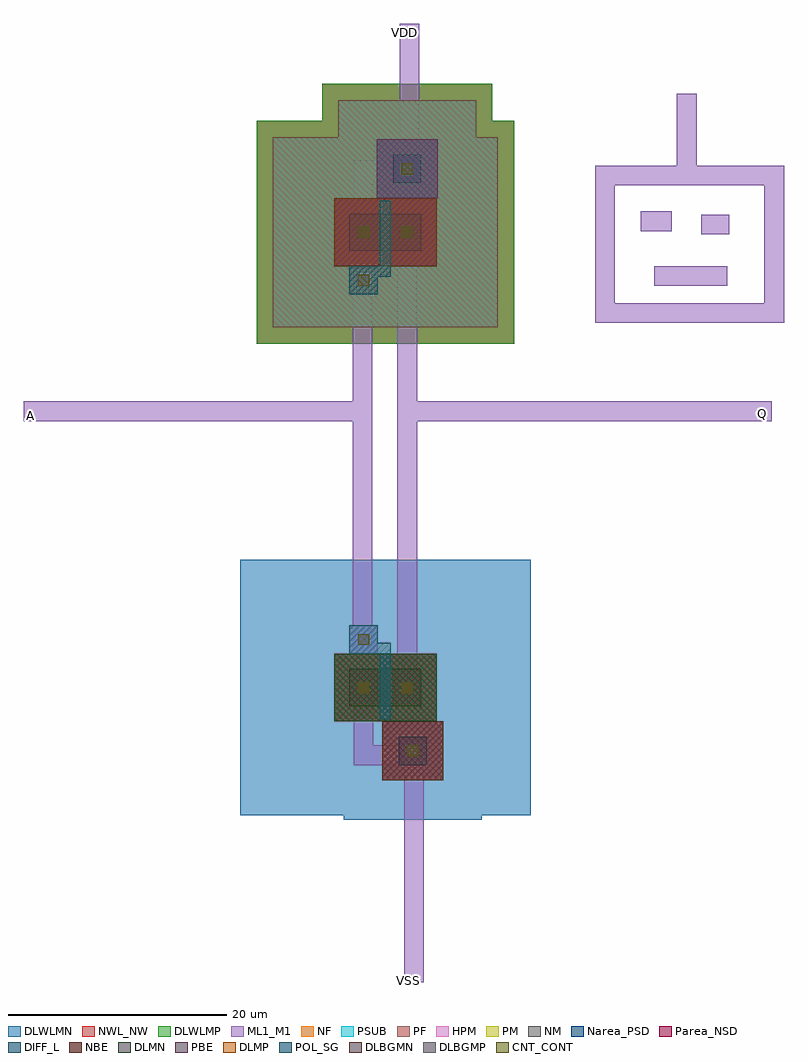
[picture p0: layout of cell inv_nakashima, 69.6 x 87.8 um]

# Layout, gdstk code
import gdstk
lib = gdstk.Library(unit=1e-6, precision=1e-07)
def R(c, l, rs):  # rectangles x0, y0, x1, y1
    for r in rs: c.add(gdstk.rectangle(r[:2], r[2:], *l))
DIFF_L = (3, 0)
NM = (7, 0)
POL_SG = (8, 0)
Narea_PSD = (9, 0)
CNT_CONT = (11, 0)
ML1_M1 = (13, 0)
NF = (25, 0)
PF = (26, 0)
Parea_NSD = (28, 0)
HPM = (33, 0)
PM = (35, 0)
NWL_NW = (36, 0)
PSUB = (140, 0)
PBE = (146, 0)
NBE = (147, 0)
DLWLMP = (150, 0)
DLWLMN = (151, 0)
DLMP = (157, 0)
DLMN = (158, 0)
DLBGMP = (177, 0)
DLBGMN = (178, 0)

dcont = lib.new_cell('dcont')
R(dcont, DIFF_L, [(-1.3,-1.3,1.3,1.3)])
R(dcont, CNT_CONT, [(-0.5,-0.5,0.5,0.5)])
R(dcont, ML1_M1, [(-1.3,-1.3,1.3,1.3), (-0.5,-0.5,0.5,0.5)])

pcont = lib.new_cell('pcont')
R(pcont, POL_SG, [(-1.3,-1.3,1.3,1.3)])
R(pcont, CNT_CONT, [(-0.5,-0.5,0.5,0.5)])
R(pcont, ML1_M1, [(-1.3,-1.3,1.3,1.3), (-0.5,-0.5,0.5,0.5)])

c_dcont = lib.new_cell('DCONT')
R(c_dcont, DIFF_L, [(-1.3,-1.3,1.3,1.3)])
R(c_dcont, CNT_CONT, [(-0.5,-0.5,0.5,0.5)])
R(c_dcont, ML1_M1, [(-1.3,-1.3,1.3,1.3), (-0.5,-0.5,0.5,0.5)])

psubcont = lib.new_cell('psubcont')
R(psubcont, NM, [(-2.8,-2.7,2.8,2.7)])
R(psubcont, Parea_NSD, [(-2.8,-2.7,2.8,2.7)])
R(psubcont, HPM, [(-2.8,-2.7,2.8,2.7)])
R(psubcont, PM, [(-2.8,-2.7,2.8,2.7)])
R(psubcont, DLWLMN, [(-6.3,-6.3,6.3,6.3)])
R(psubcont, DLBGMN, [(-2.8,-2.7,2.8,2.7)])
psubcont.add(gdstk.Reference(c_dcont, (0,0)))

mn_1 = lib.new_cell('MN$1')
R(mn_1, DIFF_L, [(0,3.6,6.6,7)])
R(mn_1, Narea_PSD, [(-1.4,2.2,8,8.4)])
R(mn_1, HPM, [(-1.4,2.2,8,8.4)])
R(mn_1, PM, [(-1.4,2.2,8,8.4)])
R(mn_1, NBE, [(-1.4,2.2,8,8.4)])
R(mn_1, DLWLMN, [(-10,-6.4,16.6,17)])
R(mn_1, DLMN, [(-1.4,2.2,8,8.4)])
mn_1.add(gdstk.FlexPath([(1.3,3.6),(1.3,7)], 2.6, ends="flush", simple_path=True, layer=13, datatype=0))  # ML1_M1
mn_1.add(gdstk.FlexPath([(5.3,3.6),(5.3,7)], 2.6, ends="flush", simple_path=True, layer=13, datatype=0))  # ML1_M1
mn_1.add(gdstk.FlexPath([(1.3,1.3),(1.3,4.6)], 1.8, ends="flush", simple_path=True, layer=13, datatype=0))  # ML1_M1
mn_1.add(gdstk.FlexPath([(5.3,6),(5.3,9.3)], 1.8, ends="flush", simple_path=True, layer=13, datatype=0))  # ML1_M1
mn_1.add(gdstk.FlexPath([(3.3,3.6),(3.3,7)], 1, ends=(1.2, 1.2), simple_path=True, layer=8, datatype=0))  # POL_SG
mn_1.add(gdstk.FlexPath([(1.3,8.9),(3.3,8.9),(3.3,8.2)], 1, ends="flush", simple_path=True, layer=8, datatype=0))  # POL_SG
mn_1.add(gdstk.Reference(dcont, (1.3,5.3)))
mn_1.add(gdstk.Reference(dcont, (5.3,5.3)))
mn_1.add(gdstk.Reference(pcont, (1.3,9.7)))
mn_1.add(gdstk.Reference(psubcont, (5.8,-0.5)))

nsubcont = lib.new_cell('nsubcont')
R(nsubcont, NM, [(-2.8,-2.7,2.8,2.7)])
R(nsubcont, Narea_PSD, [(-2.8,-2.7,2.8,2.7)])
R(nsubcont, NF, [(-6.3,-6.3,6.3,6.3)])
R(nsubcont, PF, [(-6.3,-6.3,6.3,6.3)])
R(nsubcont, HPM, [(-2.8,-2.7,2.8,2.7)])
R(nsubcont, PM, [(-2.8,-2.7,2.8,2.7)])
R(nsubcont, NWL_NW, [(-7.8,-7.8,7.8,7.8)])
R(nsubcont, PSUB, [(-6.3,-6.3,6.3,6.3)])
R(nsubcont, DLWLMP, [(-7.8,-7.8,7.8,7.8)])
R(nsubcont, DLBGMP, [(-2.8,-2.7,2.8,2.7)])
nsubcont.add(gdstk.Reference(c_dcont, (0,0)))

mp_1 = lib.new_cell('MP$1')
R(mp_1, DIFF_L, [(0,3.6,6.6,7)])
R(mp_1, NM, [(-1.4,2.2,8,8.4)])
R(mp_1, NF, [(-7,-3.4,13.6,14)])
R(mp_1, PF, [(-7,-3.4,13.6,14)])
R(mp_1, Parea_NSD, [(-1.4,2.2,8,8.4)])
R(mp_1, HPM, [(-1.4,2.2,8,8.4)])
R(mp_1, NWL_NW, [(-8.5,-4.9,15.1,15.5)])
R(mp_1, PSUB, [(-7,-3.4,13.6,14)])
R(mp_1, PBE, [(-1.4,2.2,8,8.4)])
R(mp_1, DLWLMP, [(-8.5,-4.9,15.1,15.5)])
R(mp_1, DLMP, [(-1.4,2.2,8,8.4)])
mp_1.add(gdstk.FlexPath([(1.3,3.6),(1.3,7)], 2.6, ends="flush", simple_path=True, layer=13, datatype=0))  # ML1_M1
mp_1.add(gdstk.FlexPath([(5.3,3.6),(5.3,7)], 2.6, ends="flush", simple_path=True, layer=13, datatype=0))  # ML1_M1
mp_1.add(gdstk.FlexPath([(1.3,6),(1.3,9.3)], 1.8, ends="flush", simple_path=True, layer=13, datatype=0))  # ML1_M1
mp_1.add(gdstk.FlexPath([(5.3,1.3),(5.3,4.6)], 1.8, ends="flush", simple_path=True, layer=13, datatype=0))  # ML1_M1
mp_1.add(gdstk.FlexPath([(3.3,3.6),(3.3,7)], 1, ends=(1.2, 1.2), simple_path=True, layer=8, datatype=0))  # POL_SG
mp_1.add(gdstk.FlexPath([(1.3,1.7),(3.3,1.7),(3.3,2.4)], 1, ends="flush", simple_path=True, layer=8, datatype=0))  # POL_SG
mp_1.add(gdstk.Reference(dcont, (1.3,5.3)))
mp_1.add(gdstk.Reference(dcont, (5.3,5.3)))
mp_1.add(gdstk.Reference(pcont, (1.3,0.9)))
mp_1.add(gdstk.Reference(nsubcont, (5.3,11.1)))

inv_nakashima = lib.new_cell('inv_nakashima')
inv_nakashima.add(gdstk.FlexPath([(5.3,-5.8),(38.8,-5.8)], 1.8, ends="flush", simple_path=True, layer=13, datatype=0))  # ML1_M1
inv_nakashima.add(gdstk.FlexPath([(1.1,-5.8),(-29.7,-5.8)], 1.8, ends="flush", simple_path=True, layer=13, datatype=0))  # ML1_M1
inv_nakashima.add(gdstk.FlexPath([(1.4,13.9),(1.4,16.3),(5.6,16.3),(5.6,28.8),(6.5,28.8),(6.5,28.8)], 1.8, ends="flush", simple_path=True, layer=13, datatype=0))  # ML1_M1
inv_nakashima.add(gdstk.FlexPath([(5.4,6.9),(5.4,-27.9)], 1.8, ends="flush", simple_path=True, layer=13, datatype=0))  # ML1_M1
inv_nakashima.add(gdstk.FlexPath([(1.4,-34.5),(1.4,-37.3),(6,-37.3),(6,-58.1),(6,-58.1)], 1.8, ends="flush", simple_path=True, layer=13, datatype=0))  # ML1_M1
inv_nakashima.add(gdstk.FlexPath([(1.3,5.8),(1.3,-26.1)], 1.8, ends="flush", simple_path=True, layer=13, datatype=0))  # ML1_M1
inv_nakashima.add(gdstk.FlexPath([(23.5,16.7),(23.5,3.2),(39,3.2),(39,15.8),(22.8,15.8),(22.8,15.8)], 1.8, ends="flush", simple_path=True, layer=13, datatype=0))  # ML1_M1
inv_nakashima.add(gdstk.FlexPath([(26.8,11.6),(29.6,11.6)], 1.8, ends="flush", simple_path=True, layer=13, datatype=0))  # ML1_M1
inv_nakashima.add(gdstk.FlexPath([(32.3,11.3),(34.9,11.3)], 1.8, ends="flush", simple_path=True, layer=13, datatype=0))  # ML1_M1
inv_nakashima.add(gdstk.FlexPath([(28,6.6),(34.7,6.6)], 1.8, ends="flush", simple_path=True, layer=13, datatype=0))  # ML1_M1
inv_nakashima.add(gdstk.FlexPath([(31,15.9),(31,23.3),(31,23.3)], 1.8, ends="flush", simple_path=True, layer=13, datatype=0))  # ML1_M1
inv_nakashima.add(gdstk.Reference(mn_1, (0.1,-36.4)))
inv_nakashima.add(gdstk.Reference(mp_1, (0.1,5.3)))
inv_nakashima.add(gdstk.Label('A', (-29.1,-6.2), layer=13, texttype=0))
inv_nakashima.add(gdstk.Label('Q', (37.9,-6), layer=13, texttype=0))
inv_nakashima.add(gdstk.Label('Q', (37.9,-6), layer=13, texttype=0))
inv_nakashima.add(gdstk.Label('Q', (37.9,-6), layer=13, texttype=0))
inv_nakashima.add(gdstk.Label('VDD', (5.1,28.9), layer=13, texttype=0))
inv_nakashima.add(gdstk.Label('VSS', (5.5,-57.9), layer=13, texttype=0))

lib.write_gds('inv_nakashima.gds')
